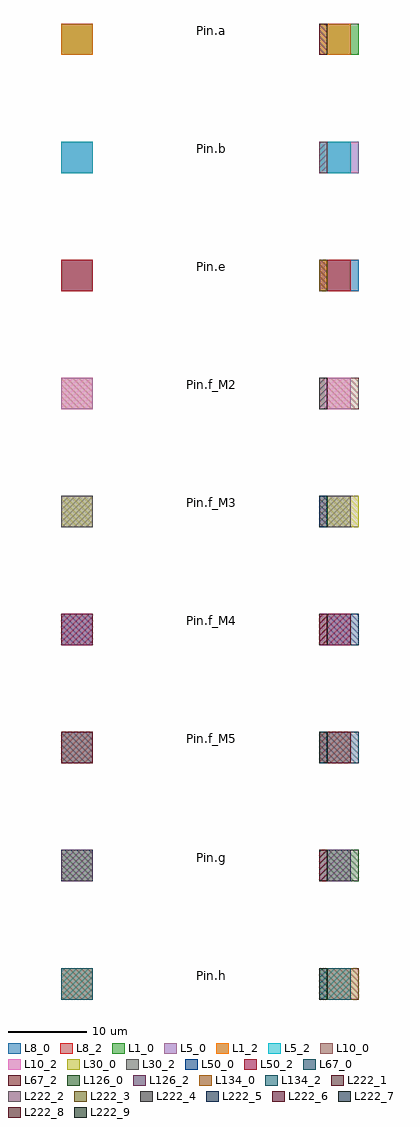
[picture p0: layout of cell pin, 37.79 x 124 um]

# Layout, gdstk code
import gdstk
lib = gdstk.Library(unit=1e-6, precision=1e-09)
def R(c, l, rs):  # rectangles x0, y0, x1, y1
    for r in rs: c.add(gdstk.rectangle(r[:2], r[2:], *l))
L1_0 = (1, 0)
L1_2 = (1, 2)
L5_0 = (5, 0)
L5_2 = (5, 2)
L8_0 = (8, 0)
L8_2 = (8, 2)
L10_0 = (10, 0)
L10_2 = (10, 2)
L30_0 = (30, 0)
L30_2 = (30, 2)
L50_0 = (50, 0)
L50_2 = (50, 2)
L67_0 = (67, 0)
L67_2 = (67, 2)
L126_0 = (126, 0)
L126_2 = (126, 2)
L134_0 = (134, 0)
L134_2 = (134, 2)
L222_1 = (222, 1)
L222_2 = (222, 2)
L222_3 = (222, 3)
L222_4 = (222, 4)
L222_5 = (222, 5)
L222_6 = (222, 6)
L222_7 = (222, 7)
L222_8 = (222, 8)
L222_9 = (222, 9)

pin = lib.new_cell('pin')
R(pin, L1_0, [(-19.132,-10.332,-15.132,-6.332), (14.656,-10.332,18.656,-6.332)])
R(pin, L1_2, [(-19.132,-10.332,-15.132,-6.332), (13.656,-10.332,17.656,-6.332)])
R(pin, L5_0, [(-19.132,-25.332,-15.132,-21.332), (14.656,-25.332,18.656,-21.332)])
R(pin, L5_2, [(-19.132,-25.332,-15.132,-21.332), (13.656,-25.332,17.656,-21.332)])
R(pin, L8_0, [(-19.132,-40.332,-15.132,-36.332), (14.656,-40.332,18.656,-36.332)])
R(pin, L8_2, [(-19.132,-40.332,-15.132,-36.332), (13.656,-40.332,17.656,-36.332)])
R(pin, L10_0, [(-19.132,-55.332,-15.132,-51.332), (14.656,-55.332,18.656,-51.332)])
R(pin, L10_2, [(-19.132,-55.332,-15.132,-51.332), (13.656,-55.332,17.656,-51.332)])
R(pin, L30_0, [(-19.132,-70.332,-15.132,-66.332), (14.656,-70.332,18.656,-66.332)])
R(pin, L30_2, [(-19.132,-70.332,-15.132,-66.332), (13.656,-70.332,17.656,-66.332)])
R(pin, L50_0, [(-19.132,-85.332,-15.132,-81.332), (14.656,-85.332,18.656,-81.332)])
R(pin, L50_2, [(-19.132,-85.332,-15.132,-81.332), (13.656,-85.332,17.656,-81.332)])
R(pin, L67_0, [(-19.132,-100.332,-15.132,-96.332), (14.656,-100.332,18.656,-96.332)])
R(pin, L67_2, [(-19.132,-100.332,-15.132,-96.332), (13.656,-100.332,17.656,-96.332)])
R(pin, L126_0, [(-19.132,-115.332,-15.132,-111.332), (14.656,-115.332,18.656,-111.332)])
R(pin, L126_2, [(-19.132,-115.332,-15.132,-111.332), (13.656,-115.332,17.656,-111.332)])
R(pin, L134_0, [(-19.132,-130.332,-15.132,-126.332), (14.656,-130.332,18.656,-126.332)])
R(pin, L134_2, [(-19.132,-130.332,-15.132,-126.332), (13.656,-130.332,17.656,-126.332)])
R(pin, L222_1, [(13.656,-10.332,14.656,-6.332)])
R(pin, L222_2, [(13.656,-25.332,14.656,-21.332)])
R(pin, L222_3, [(13.656,-40.332,14.656,-36.332)])
R(pin, L222_4, [(13.656,-55.332,14.656,-51.332)])
R(pin, L222_5, [(13.656,-70.332,14.656,-66.332)])
R(pin, L222_6, [(13.656,-85.332,14.656,-81.332)])
R(pin, L222_7, [(13.656,-100.332,14.656,-96.332)])
R(pin, L222_8, [(13.656,-115.332,14.656,-111.332)])
R(pin, L222_9, [(13.656,-130.332,14.656,-126.332)])
pin.add(gdstk.Label('PASS', (-12,5), layer=63, texttype=0))
pin.add(gdstk.Label('FAIL', (12,5), layer=63, texttype=0))
pin.add(gdstk.Label('Pin.h', (0,-127.23), layer=63, texttype=0))
pin.add(gdstk.Label('Pin.g', (0,-112.23), layer=63, texttype=0))
pin.add(gdstk.Label('Pin.f_M3', (0,-67.23), layer=63, texttype=0))
pin.add(gdstk.Label('Pin.f_M4', (0,-82.23), layer=63, texttype=0))
pin.add(gdstk.Label('Pin.f_M5', (0,-97.23), layer=63, texttype=0))
pin.add(gdstk.Label('Pin.f_M2', (0,-52.23), layer=63, texttype=0))
pin.add(gdstk.Label('Pin.e', (0,-37.23), layer=63, texttype=0))
pin.add(gdstk.Label('Pin.b', (0,-22.23), layer=63, texttype=0))
pin.add(gdstk.Label('Pin.a', (0,-7.23), layer=63, texttype=0))
pin.add(gdstk.Label('7.4_Pin_layer', (0,21), layer=63, texttype=0))

lib.write_gds('pin.gds')
